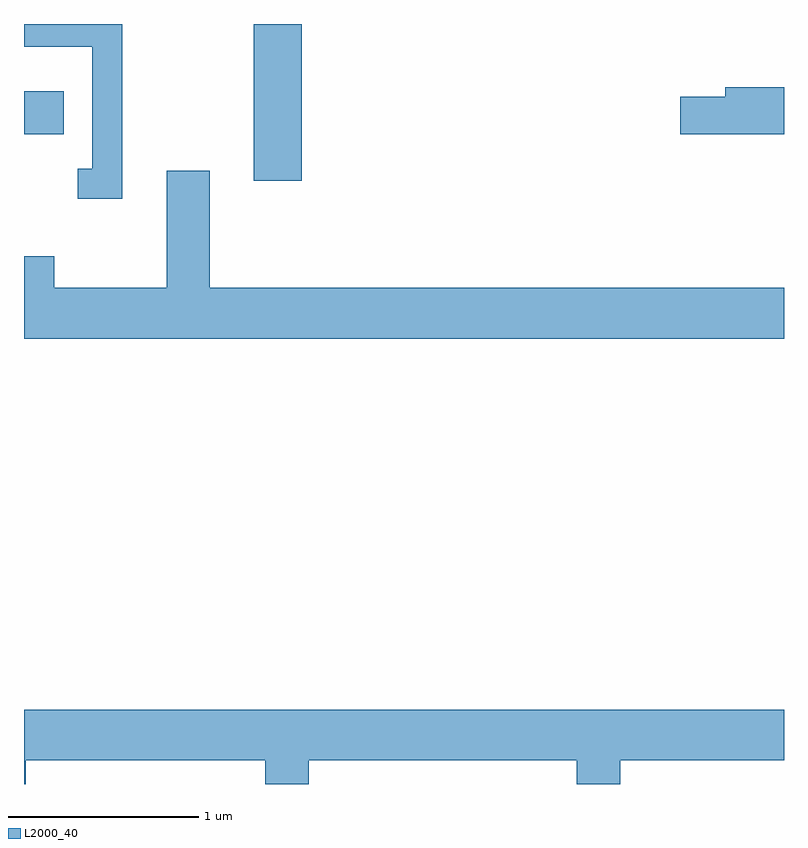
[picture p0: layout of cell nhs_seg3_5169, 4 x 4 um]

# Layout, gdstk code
import gdstk
lib = gdstk.Library(unit=1e-6, precision=1e-09)
def R(c, l, rs):  # rectangles x0, y0, x1, y1
    for r in rs: c.add(gdstk.rectangle(r[:2], r[2:], *l))
def P(c, l, *ps):  # polygons
    for p in ps: c.add(gdstk.Polygon(p, *l))
L2000_40 = (2000, 40)

nhs_seg3_5169 = lib.new_cell('nhs_seg3_5169')
R(nhs_seg3_5169, L2000_40, [(338.821,1129.066,339.074,1129.892), (337.611,1129.311,337.819,1129.539)])
P(nhs_seg3_5169, L2000_40, [(338.129,1129.892),(337.611,1129.892),(337.611,1129.771),(337.971,1129.771),(337.971,1129.129),(337.893,1129.129),(337.893,1128.971),(338.129,1128.971)],
  [(341.611,1129.559),(341.301,1129.559),(341.301,1129.509),(341.066,1129.509),(341.066,1129.311),(341.611,1129.311)],
  [(341.611,1128.504),(338.589,1128.504),(338.589,1129.119),(338.361,1129.119),(338.361,1128.504),(337.769,1128.504),(337.769,1128.669),(337.611,1128.669),(337.611,1128.236),(341.611,1128.236)],
  [(337.619,1126.016),(338.881,1126.016),(338.881,1125.892),(339.109,1125.892),(339.109,1126.016),(340.521,1126.016),(340.521,1125.892),(340.749,1125.892),(340.749,1126.016),(341.611,1126.016),(341.611,1126.284),(337.611,1126.284),(337.611,1125.892),(337.619,1125.892)])

lib.write_gds('nhs_seg3_5169.gds')
